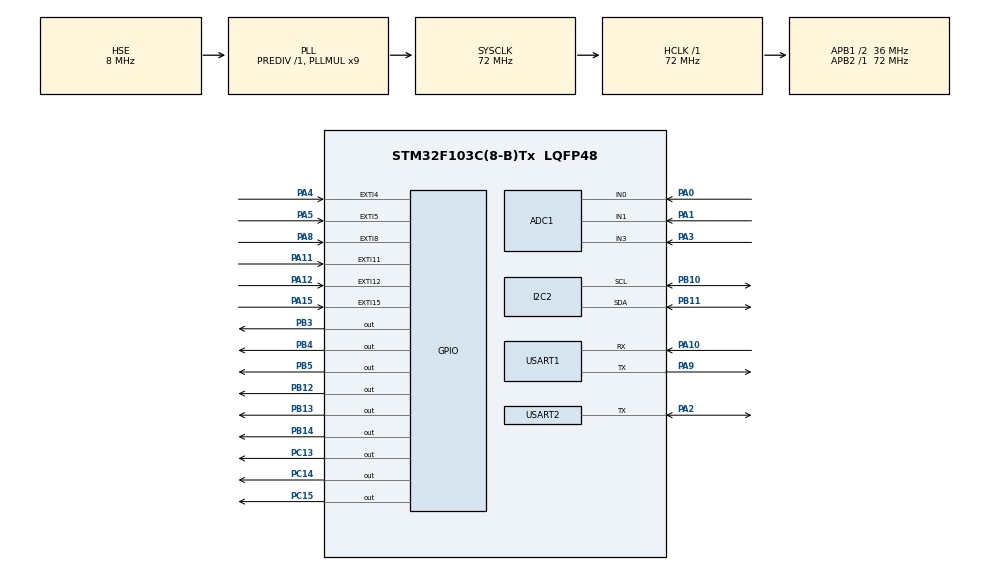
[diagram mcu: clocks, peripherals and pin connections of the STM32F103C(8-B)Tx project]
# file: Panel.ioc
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Mcu.Family=STM32F1
Dma.ADC1.1.MemDataAlignment=DMA_MDATAALIGN_HALFWORD
NVIC.DMA1_Channel5_IRQn=true\:0\:0\:false\:false\:true\:false\:true
PB10.Mode=I2C
ADC1.ContinuousConvMode=DISABLE
USART2.Parity=PARITY_NONE
VP_RTC_VS_RTC_Activate.Mode=RTC_Enabled
Dma.TIM1_UP.0.Mode=DMA_CIRCULAR
PA11.GPIO_PuPd=GPIO_PULLUP
PA12.GPIO_ModeDefaultEXTI=GPIO_MODE_IT_FALLING
PB11.Signal=I2C2_SDA
ADC1.SamplingTime-12\#ChannelRegularConversion=ADC_SAMPLETIME_71CYCLES_5
PB13.Signal=GPIO_Output
RCC.SYSCLKSource=RCC_SYSCLKSOURCE_PLLCLK
ProjectManager.StackSize=0x400
PD1-OSC_OUT.Signal=RCC_OSC_OUT
NVIC.RTC_IRQn=true\:15\:0\:true\:false\:true\:true\:true
VP_RTC_No_RTC_Output.Mode=RTC_OUT_NO
Dma.TIM1_UP.0.MemInc=DMA_MINC_ENABLE
PA12.Signal=GPXTI12
TIM1.Prescaler=7200
Dma.ADC1.1.Instance=DMA1_Channel1
ADC1.Rank-11\#ChannelRegularConversion=1
PA15.GPIO_ModeDefaultEXTI=GPIO_MODE_IT_FALLING
RCC.HCLKFreq_Value=72000000
SH.ADCx_IN3.0=ADC1_IN3,IN3
RCC.APB2TimFreq_Value=72000000
PB13.GPIO_ModeDefaultOutputPP=GPIO_MODE_OUTPUT_PP
ADC1.InjNumberOfConversion=3
Dma.ADC1.1.PeriphDataAlignment=DMA_PDATAALIGN_HALFWORD
PB12.PinState=GPIO_PIN_RESET
RCC.AHBFreq_Value=72000000
NVIC.EXTI15_10_IRQn=true\:7\:0\:true\:false\:true\:true\:true
PA4.GPIO_PuPd=GPIO_PULLUP
PB12.GPIO_ModeDefaultOutputPP=GPIO_MODE_OUTPUT_PP
RCC.PLLMUL=RCC_PLL_MUL9
PB3.GPIO_PuPd=GPIO_PULLUP
RCC.LSE_Timout=2500
PA14.Mode=Serial_Wire
PA5.GPIO_PuPd=GPIO_PULLUP
NVIC.TIM2_IRQn=true\:0\:0\:false\:false\:true\:true\:true
Dma.ADC1.1.Priority=DMA_PRIORITY_LOW
Dma.ADC1.1.Mode=DMA_CIRCULAR
PA8.Signal=GPXTI8
SH.ADCx_IN0.0=ADC1_IN0,IN0
TIM4.Period=50
VP_TIM1_VS_ClockSourceINT.Mode=Internal
Mcu.Package=LQFP48
ADC1.SamplingTime-11\#ChannelRegularConversion=ADC_SAMPLETIME_71CYCLES_5
TIM2.Prescaler=7200
PB14.GPIO_PuPd=GPIO_PULLUP
ADC1.EnableInjectedConversion=DISABLE
Dma.TIM1_UP.0.Direction=DMA_MEMORY_TO_PERIPH
PA8.GPIO_ModeDefaultEXTI=GPIO_MODE_IT_FALLING
USART2.VirtualMode=VM_ASYNC
Dma.ADC1.1.Direction=DMA_PERIPH_TO_MEMORY
ADC1.SamplingTime-13\#ChannelRegularConversion=ADC_SAMPLETIME_71CYCLES_5
ADC1.Channel-11\#ChannelRegularConversion=ADC_CHANNEL_0
Dma.ADC1.1.MemInc=DMA_MINC_ENABLE
PA10.Signal=USART1_RX
PA15.Signal=GPXTI15
SH.ADCx_IN1.0=ADC1_IN1,IN1
Dma.Request1=ADC1
RCC.APB1TimFreq_Value=72000000
TIM1.Period=22
PA12.GPIO_PuPd=GPIO_PULLUP
Dma.Request0=TIM1_UP
PB4.Signal=GPIO_Output
PA3.Signal=ADCx_IN3
RCC.PLLSourceVirtual=RCC_PLLSOURCE_HSE
NVIC.EXTI4_IRQn=true\:0\:0\:false\:false\:true\:true\:true
PA5.GPIO_ModeDefaultEXTI=GPIO_MODE_IT_FALLING
TIM4.AutoReloadPreload=TIM_AUTORELOAD_PRELOAD_ENABLE
PD1-OSC_OUT.Mode=HSE-External-Oscillator
TIM4.CounterMode=TIM_COUNTERMODE_DOWN
PA10.Mode=Asynchronous
ADC1.DiscontinuousConvMode=DISABLE
PC13-TAMPER-RTC.Signal=GPIO_Output
PD0-OSC_IN.Signal=RCC_OSC_IN
ADC1.Channel-13\#ChannelRegularConversion=ADC_CHANNEL_3
RCC.APB1CLKDivider=RCC_HCLK_DIV2
PC14-OSC32_IN.Signal=GPIO_Output
NVIC.USART2_IRQn=true\:10\:0\:true\:false\:true\:true\:true
USART2.BaudRate=9600
PA0-WKUP.Signal=ADCx_IN0
RCC.ADCPresc=RCC_ADCPCLK2_DIV8
PA13.Signal=SYS_JTMS-SWDIO
Dma.TIM1_UP.0.PeriphDataAlignment=DMA_PDATAALIGN_HALFWORD
ADC1.Rank-13\#ChannelRegularConversion=3
PA9.Mode=Asynchronous
PB14.PinState=GPIO_PIN_RESET
PB11.Mode=I2C
ProjectManager.TargetToolchain=STM32CubeIDE
PB14.GPIO_Speed=GPIO_SPEED_FREQ_LOW
PA9.Signal=USART1_TX
PB13.GPIO_Speed=GPIO_SPEED_FREQ_LOW
PA4.GPIO_ModeDefaultEXTI=GPIO_MODE_IT_FALLING
Dma.TIM1_UP.0.Priority=DMA_PRIORITY_LOW
PB4.GPIO_PuPd=GPIO_PULLUP
RCC.USBFreq_Value=72000000
TIM4.Prescaler=7200
PC15-OSC32_OUT.Signal=GPIO_Output
PB14.GPIO_ModeDefaultOutputPP=GPIO_MODE_OUTPUT_PP
PA1.Signal=ADCx_IN1
PB12.GPIO_Speed=GPIO_SPEED_FREQ_LOW
PD0-OSC_IN.Mode=HSE-External-Oscillator
PB10.Signal=I2C2_SCL
PB14.Signal=GPIO_Output
PA5.Signal=GPXTI5
board=custom
ADC1.Rank-12\#ChannelRegularConversion=2
Dma.TIM1_UP.0.Instance=DMA1_Channel5
PB13.GPIO_PuPd=GPIO_PULLUP
ADC1.Channel-12\#ChannelRegularConversion=ADC_CHANNEL_1
RCC.APB2Freq_Value=72000000
USART2.StopBits=STOPBITS_1
PB13.PinState=GPIO_PIN_RESET
VP_TIM2_VS_ClockSourceINT.Mode=Internal
PC15-OSC32_OUT.GPIO_PuPd=GPIO_PULLDOWN
Dma.ADC1.1.PeriphInc=DMA_PINC_DISABLE
TIM2.Period=100
ADC1.NbrOfConversion=3
PA13.Mode=Serial_Wire
Mcu.Name=STM32F103C(8-B)Tx
Dma.TIM1_UP.0.PeriphInc=DMA_PINC_DISABLE
PA2.Signal=USART2_TX
PB3.Signal=GPIO_Output
PA4.Signal=GPXTI4
RCC.SYSCLKFreq_VALUE=72000000
PB5.Signal=GPIO_Output
ADC1.master=1
PB5.GPIO_PuPd=GPIO_PULLUP
USART1.VirtualMode=VM_ASYNC
PA11.Signal=GPXTI11
NVIC.EXTI9_5_IRQn=true\:7\:0\:true\:false\:true\:true\:true
PA14.Signal=SYS_JTCK-SWCLK
ProjectManager.HeapSize=0x200
Dma.TIM1_UP.0.MemDataAlignment=DMA_MDATAALIGN_HALFWORD
PA8.GPIO_PuPd=GPIO_PULLUP
VP_TIM4_VS_ClockSourceINT.Mode=Internal
NVIC.PriorityGroup=NVIC_PRIORITYGROUP_4
ADC1.NbrOfConversionFlag=1
PA15.GPIO_PuPd=GPIO_PULLUP
ADC1.EnableRegularConversion=ENABLE
PA2.Mode=Half_duplex(single_wire_mode)
PB8.Signal=CAN_RX
PC14-OSC32_IN.GPIO_PuPd=GPIO_PULLDOWN
NVIC.DMA1_Channel1_IRQn=true\:0\:0\:false\:false\:true\:false\:true
PB12.GPIO_PuPd=GPIO_PULLUP
NVIC.TIM4_IRQn=true\:2\:0\:true\:false\:true\:true\:true
PA11.GPIO_ModeDefaultEXTI=GPIO_MODE_IT_FALLING
RCC.APB1Freq_Value=36000000
PB12.Signal=GPIO_Output

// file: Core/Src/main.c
/* USER CODE BEGIN Header */
/**
  ******************************************************************************
  * @file           : main.c
  * @brief          : Main program body
  ******************************************************************************
  * @attention
  *
  * <h2><center>&copy; Copyright (c) 2020 STMicroelectronics.
  * All rights reserved.</center></h2>
  *
  * This software component is licensed by ST under BSD 3-Clause license,
  * the "License"; You may not use this file except in compliance with the
  * License. You may obtain a copy of the License at:
  *                        opensource.org/licenses/BSD-3-Clause
  *
  ******************************************************************************
  */
/* USER CODE END Header */
#include "main.h"

/* USER CODE BEGIN PD */
#define Beep_ON  HAL_GPIO_WritePin(GPIOC,GPIO_PIN_14, GPIO_PIN_SET)
#define Beep_OFF HAL_GPIO_WritePin(GPIOC,GPIO_PIN_14, GPIO_PIN_RESET)
#define Power_out_ON  HAL_GPIO_WritePin(GPIOC,GPIO_PIN_15, GPIO_PIN_SET)
#define Power_out_OFF HAL_GPIO_WritePin(GPIOC,GPIO_PIN_15, GPIO_PIN_RESET)

/* USER CODE END PD */

/* USER CODE BEGIN PM */
#define DEBUG				1
/* USER CODE END PM */

ADC_HandleTypeDef hadc1;
DMA_HandleTypeDef hdma_adc1;

I2C_HandleTypeDef hi2c2;

RTC_HandleTypeDef hrtc;

TIM_HandleTypeDef htim1;
TIM_HandleTypeDef htim2;
TIM_HandleTypeDef htim4;
DMA_HandleTypeDef hdma_tim1_up;

UART_HandleTypeDef huart1;
UART_HandleTypeDef huart2;

/* USER CODE BEGIN PV */
volatile uint16_t Sec_count = 0;

volatile uint16_t ADC[3] = {0,}; // у нас два канала поэтому массив из двух элементов

#if (DEBUG)
char Uart_str[64] = {0,};
#endif
/* USER CODE END PV */

void SystemClock_Config(void);
static void MX_GPIO_Init(void);
static void MX_DMA_Init(void);
static void MX_RTC_Init(void);
static void MX_USART2_UART_Init(void);
static void MX_TIM1_Init(void);
static void MX_ADC1_Init(void);
static void MX_I2C2_Init(void);
static void MX_USART1_UART_Init(void);
static void MX_TIM4_Init(void);
static void MX_TIM2_Init(void);
/* USER CODE BEGIN PFP */
void setup(void);
void setModeRXuart2(void);
void sendDataFromPanel(uint8_t);
void running_lights(void);

uint8_t get_selector_position(uint8_t, uint16_t);
void start_wash(uint8_t, uint8_t, uint8_t);
void stop_wash(uint8_t);
void led_off(void);
void led_on(void);
void beep(uint16_t);
void check_errors(uint8_t);
void status_wash_led(uint8_t);
void error_display(void);

#define ControlMasterlID 1      //  номер контрол. master управления в сети
#define ControlPanelID   2      //  номер контрол. панели управления в сети
#define ControlWIFIlID   3      //  номер контрол. WIFI панели управления в сети

#define _get_Num_Prog   get_selector_position(selectorProg,ADC[selectorProg])
#define _get_Speed_Spin get_selector_position(selectorSpeed, ADC[selectorSpeed])
#define _get_Temp_Wash  get_selector_position(selectorTemp,  ADC[selectorTemp])

// длина звука биппера
#define Power_ON 		200
#define Btton_press 	70
#define Wash_end		1650
#define Err_beep		100

#define ON			  	1
#define OFF			  	0

//массив данных для панели управления получаемый по uart2
#define ID            0
#define Start         1
#define ProgNum       2
#define Temp          3
#define Spin          4
#define Status        5
#define END           6
#define Reserve       7
#define WIFIS         8
#define TempC         9
#define TempS        10
#define WatLev       11
#define ProgNow      12
#define DoorS        13
#define ProgTot      14
#define SpeedH       15
#define SpeedL       16
#define PauseH       17
#define PauseL       18
#define CRCdata      19

#define lenArr        20

volatile uint8_t     buf_cmd_mass[lenArr] = {0,};
volatile uint8_t  Command_Massive[lenArr] ={
                                   0, // 0  для кого сообщение                                                                                                             <-->
                                   0, // 1  Старт стирка -1 Стоп стрика - 0                                                                                            В Контроллер
                                   0, // 2  Программа стирки от 0 до 16                                                                                                В Контроллер
                                   0, // 3  Температура стирки от  0 до 95                                                                                             В Контроллер
                                   0, // 4  Обороты отжима от 0 до 100 (нужно будет умножить на 10)                                                                    В Контроллер
                                   0, // 5  Состояние стирки: 0 - Конец. 1 - Предваритель стирка. 2 - Стиирка. 3 - Полоскание. 4 - Отжим. от контрол. мастер          Из Контроллера
                                   0, // 6  END от контроллера мастер . остановка или конец стирки 1 - конец  0 - работаем                                            Из Контроллера
                                   0, // 7  reserve
                                   0, // 8  OFF == 0 WIFI, WIFI ON == 1, Reset password == 2                                                                          Из Контроллера
                                   0, // 9  tempWater температура воды                                                                                                Из Контроллера
                                   0, // 10 tempHeaterSet заданная температура воды                                                                                   Из Контроллера
                                   0, // 11 waterLevel() уровень воды 0 1 2                                                                                           Из Контроллера
                                   0, // 12 NumProg  номер исполняемой программы стирки                                                                               Из Контроллера
                                   0, // 14 getStatusDoor()  состояние люка                                                                                           Из Контроллера
                                   0, // 15 TotalProgSD  кол-во программ стирки на SD карте в каталоге STEP/                                                          Из Контроллера
                                   0, // 16 getValueArr(CurrentSpeedCell) >> 8;  int Сохраняем старший байт значения оборотов в  1 ячейку массив                      Из Контроллера
                                   0, // 17 getValueArr(CurrentSpeedCell);  Сохраняем младший байт значения оборотов во 2 ячейку массив                               Из Контроллера
                                   0, // 18 CountSecPause >> 8;   int Сохраняем старший байт значения паузы в  1 ячейку массив                                        Из Контроллера
                                   0, // 19 CountSecPause ;    Сохраняем младший байт значения паузы во 2 ячейку массив                                               Из Контроллера
                                   0  // 20 CRC                                                                                                                       <-->
                             };

#define selectorProg     	0
#define selectorSpeed    	1
#define selectorTemp     	2

#define totall_Prog 16
const uint16_t selectorProg_values [totall_Prog] =
                                        {150,350,600,900,1200,1500,1710,2000,2320,2666,2850,3099,3469,3747,4000,4500}; 	// положение регулятора считывание с аналог. входа
                                      //  {1,  2,  3,  4,   5,   6,   7,   8,   9,  10,  11,  12,  13,  14,  15,  16}  	//  программы стирки
#define tempSpeedNum 8
const uint16_t selectorTempSpeed_values[3] [8] = {
                                                {400,1000,2000,2500,2900,3300,3800,4500}, 	// положение регулятора считывание с аналог. входа
                                                { 70, 80,  90,  100,   0,  40,  50,  60}, 	// обороты отжима
                                                {  0, 30,  40,   50,  60,  70,  80,  90}  	// температура стирки
                                                };

#define led_0 0x4018
#define led_1 0x2018
#define led_2 0x1018
#define led_3 0x4028
#define led_4 0x2028
#define led_5 0x1028
#define led_6 0x4030
#define led_7 0x2030
#define led_8 0x1030

#define led_power 8

/*										0		1		2		3		4		5		6		7		8	*/
const uint16_t Led_array_ON[10] = {0x4018, 0x2018, 0x1018, 0x4028, 0x2028, 0x1028, 0x4030, 0x2030, 0x1030, 0x0000 };
/*							0		1		2		3		4		5		6		7		8	*/
uint16_t Led_array[10] = {0x0000, 0x0000, 0x0000, 0x0000, 0x0000, 0x0000, 0x0000, 0x0000, 0x0000, 0x0000 };//{GPIO_PIN_12, GPIO_PIN_13, GPIO_PIN_14};

volatile uint16_t Pin_button;
volatile uint8_t Flag_power_ON;
volatile uint8_t Flag_radio_ON;
volatile uint8_t Flag_start_wash;
uint8_t Flag_wash;
uint8_t Step_wash_session;

#define limit_Sec_ses_conn  50
volatile uint16_t Sec_count_sesion_connect;
volatile uint16_t Sec_delay_start_wash;
volatile uint8_t Count_mode_delay_wash; // 0 - off  0 < on
//									0h  2h 		4h 		6h 	  9h
const uint16_t Time_Delay_Arr[5] = {0, 05, 14400, 21600, 36000}; //0h 2h 4h 6h 9h
#define Tot_arr_err  16
uint8_t Error_Arr[Tot_arr_err] = {0,};																	// массив с ошибками полученный от главного контроллера

/* USER CODE END PFP */

int main(void)
{

  /* MCU Configuration--------------------------------------------------------*/

  /* Reset of all peripherals, Initializes the Flash interface and the Systick. */
  HAL_Init();

  /* Configure the system clock */
  SystemClock_Config();

  /* Initialize all configured peripherals */
  MX_GPIO_Init();
  MX_DMA_Init();
  MX_RTC_Init();
  MX_USART2_UART_Init();
  MX_TIM1_Init();
  MX_ADC1_Init();
  MX_I2C2_Init();
  MX_USART1_UART_Init();
  MX_TIM4_Init();
  MX_TIM2_Init();
  /* USER CODE BEGIN 2 */
  HAL_UART_Transmit(&huart1, "\nI'm panel.\n\0", 12, 1000);
  setup();

  /* USER CODE END 2 */

  /* Infinite loop */
  /* USER CODE BEGIN WHILE */
 // Beep_ON;
 // check_errors(200);check_errors(201); check_errors(202); check_errors(203);

  while (1)
  {

	         HAL_Delay(500);
/*	         Led_array[0] = led_0;
	         Led_array[1] = led_1;
	         Led_array[2] = led_2;
	         Led_array[7] = led_7;
	         Led_array[3] = led_3;
	         Led_array[4] = led_4;
	         Led_array[5] = led_5;
	         Led_array[6] = led_6;
	         Led_array[7] = led_7;
	         Led_array[8] = led_8;
 */
	                 //snprintf(Uart_str, 63, "ADC %d    %d    %d\n", (uint16_t)adc[0], (uint16_t)ADC[1], (uint16_t)adc[2]);
	                 //HAL_UART_Transmit(&huart1, (uint8_t*)Uart_str, strlen(Uart_str), 1000);

	                		 	 	 	 	 	 	 	 	 	 	 //get_selector_position(selectorSpeed, ADC[selectorSpeed]);
	         snprintf(Uart_str, 63, "Prog %d (%d) Speed  %d (%d) Temper  %d (%d)\r\n\0", get_selector_position(selectorProg,  ADC[selectorProg]),  ADC[selectorProg],
	         	                		 	 	 	 	 	 	 	 	 	 	      get_selector_position(selectorSpeed, ADC[selectorSpeed]), ADC[selectorSpeed],
	         																	      get_selector_position(selectorTemp,  ADC[selectorTemp]),  ADC[selectorTemp]);
	         //HAL_UART_Transmit(&huart1, (uint8_t*)Uart_str, strlen(Uart_str), 1000);

	         //snprintf(Uart_str, 63, "Radio %d Mashine %d Start %d Prog %d  Speed  %d  Temper  %d \n", Flag_radio_ON, Flag_power_ON, Command_Massive[Start], Command_Massive[ProgNum], Command_Massive[Spin], Command_Massive[Temp]);

	         //snprintf(Uart_str, 63, "Delay %d Flag_start_wash %d Status %d step %d\r\n\0",  Sec_delay_start_wash, Flag_start_wash, buf_cmd_mass[Status], Step_wash_session);
	         snprintf(Uart_str, 63, "cmdA[Start]: %d buf[Start]: %d Sess: %d buf[END]: %d\r\n\0",  Command_Massive[Start], buf_cmd_mass[Start], Sec_count_sesion_connect, buf_cmd_mass[END]);
	         HAL_UART_Transmit(&huart1, (uint8_t*)Uart_str, strlen(Uart_str), 1000);

	                if (!Flag_power_ON && !Flag_radio_ON)  // если питание выкл и радио выкл гасим индикаторы отключаем стирку
	                {
	                	stop_wash(0);
	                	Flag_start_wash = Flag_wash = Step_wash_session = buf_cmd_mass[Status] = buf_cmd_mass[Start] = 0; status_wash_led(0);
	                	led_off();
	                	HAL_Delay(500);
	                	Power_out_OFF;
	                	Sec_count_sesion_connect = 0;
	                }
/*-------------------------------------------------------------------------------------------------------------------------------------------------------------------*/
	                if (!Flag_power_ON && Flag_radio_ON)   // включено радио
	                {
	                	Power_out_OFF;
	                }
/*-------------------------------------------------------------------------------------------------------------------------------------------------------------------/
	                if (Flag_power_ON) 						// режим стирка
	                {
	                   if (Flag_Wash == ON) {start_wash(_get_Num_Prog, _get_Speed_Spin, _get_Temp_Wash); Flag_Wash = OFF;} 								// если включено питание  запуск стирки
	                   if (Flag_Wash == OFF && Flag_start_wash == OFF) stop_wash(OFF);						// остановка стирки
	                   if ((Sec_delay_start_wash == 0 && Flag_start_wash == ON) ) {
	                	   	   	   	   	   	   	   	   	   	   	   	   	   	   	   status_wash_led(OFF);	// гасим индикаторы статуса стирки - отсрочки
	                	   	   	   	   	   	   	   	   	   	   	   	   	   	   	   Led_array[3] = OFF;      // индикатор кнопки таймера отсрочки стирки
	                	   	   	   	   	   	   	   	   	   	   	   	   	   	   	   Flag_Wash = ON;}         // запуск стирки по таймеру отсрочки
	                   if (Flag_start_wash == ON) status_wash_led(buf_cmd_mass[Status]); 					// выдаем статус на панель если режим ON

	                }
/*-------------------------------------------------------------------------------------------------------------------------------------------------------------------*/
	                if (Flag_power_ON) 						// режим стирка
	                {
	                   Power_out_ON;						// ВКЛ питание на контрол. машины
	                   if(Sec_count_sesion_connect == 10)setModeRXuart2();
	                   uint16_t sum_err = 0;
	                   for(uint8_t i = 0; i < Tot_arr_err; i++) sum_err += Error_Arr[i];
	                   if (sum_err > 1 && Flag_start_wash == OFF) error_display(); // если есть ощибки в памяти то выводим их на панель

	                   if (Sec_delay_start_wash == 0 && Flag_start_wash == ON && Flag_wash == 0 && Step_wash_session < 4)
	                   	   	   	   	   	   	   	   	   	   	   	   	   	   	   	  {
	                	   	   	   	   	   	   	   	   	   	   	   	   	   	   	   status_wash_led(OFF);	// гасим индикаторы статуса стирки - отсрочки
	                	   	   	   	   	   	   	   	   	   	   	   	   	   	   	   Led_array[3] = OFF;      // индикатор кнопки таймера отсрочки стирки
	                	   	   	   	   	   	   	   	   	   	   	   	   	   	   	   Flag_wash = 1;
	                	   	   	   	   	   	   	   	   	   	   	   	   	   	   	   	   	   	   	   	   	   	// супер стирка доп. прог                             здесь номер программы
	                	   	   	   	   	   	   	   	   	   	   	   	   	   	   		 if ( Led_array[6] && Step_wash_session == 0) {Step_wash_session = 1; start_wash(_get_Num_Prog, _get_Speed_Spin, _get_Temp_Wash); goto Exit;}
	                	   	   	   	   	   	   	   	   	   	   	   	   	   	   		 if (!Led_array[6] && Step_wash_session == 0)  Step_wash_session = 1;
	                	   	   	   	   	   	   	   	   	   	   	   	   	   	   		 	 	 	 	 	   // быстрая стирка доп. прог                            здесь номер программы
	                	   	   	   	   	   	   	   	   	   	   	   	   	   	   		 if ( Led_array[5] && Step_wash_session == 1) {Step_wash_session = 2; start_wash(_get_Num_Prog, _get_Speed_Spin, _get_Temp_Wash); goto Exit;}
	                	   	   	   	   	   	   	   	   	   	   	   	   	   	   		 if (!Led_array[5] && Step_wash_session == 1)  Step_wash_session = 2;
	                	   	   	   	   	   	   	   	   	   	   	   	   	   	   		 	 	 	 	 	 	 // обязательная стирка выбранная на селекторе
	                	   	   	   	   	   	   	   	   	   	   	   	   	   	   		 if (Step_wash_session == 2) {Step_wash_session = 3; start_wash(_get_Num_Prog, _get_Speed_Spin, _get_Temp_Wash);
	                	   	   	   	   	   	   	   	   	   	   	   	   	   	   		 	 	 	 	 if (!Led_array[4]) Step_wash_session = 4;
	                	   	   	   	   	   	   	   	   	   	   	   	   	   	   		 	 	 	 	 goto Exit;}
	                	   	   	   	   	   	   	   	   	   	   	   	   	   	   		 	 	 	 	 	 	 // дополнит полоскание доп. прог                   здесь номер программы
	                	   	   	   	   	   	   	   	   	   	   	   	   	   	   		 if ( Led_array[4] && Step_wash_session == 3) {Step_wash_session = 4; start_wash(_get_Num_Prog, _get_Speed_Spin, _get_Temp_Wash);}
	                	   	   	   	   	   	   	   	   	   	   	   	   	   	   		 if (!Led_array[4] && Step_wash_session == 3)  Step_wash_session = 4;

	                   	   	   	   	   	   	   	   	   	   	   	   	   	   	   	   }
	                   Exit:
	                   if (Flag_start_wash == ON) {status_wash_led(0); status_wash_led(buf_cmd_mass[Status]);} 					// выдаем статус на панель если режим ON
	                   if (Flag_wash == ON && Flag_start_wash == OFF) {Step_wash_session = 0; stop_wash(OFF);	}					// остановка стирки по кнопке

	                }

    /* USER CODE END WHILE */

  }
}

void SystemClock_Config(void)
{
  RCC_OscInitTypeDef RCC_OscInitStruct = {0};
  RCC_ClkInitTypeDef RCC_ClkInitStruct = {0};
  RCC_PeriphCLKInitTypeDef PeriphClkInit = {0};

  /** Initializes the RCC Oscillators according to the specified parameters
  * in the RCC_OscInitTypeDef structure.
  */
  RCC_OscInitStruct.OscillatorType = RCC_OSCILLATORTYPE_LSI|RCC_OSCILLATORTYPE_HSE;
  RCC_OscInitStruct.HSEState = RCC_HSE_ON;
  RCC_OscInitStruct.HSEPredivValue = RCC_HSE_PREDIV_DIV1;
  RCC_OscInitStruct.HSIState = RCC_HSI_ON;
  RCC_OscInitStruct.LSIState = RCC_LSI_ON;
  RCC_OscInitStruct.PLL.PLLState = RCC_PLL_ON;
  RCC_OscInitStruct.PLL.PLLSource = RCC_PLLSOURCE_HSE;
  RCC_OscInitStruct.PLL.PLLMUL = RCC_PLL_MUL9;
  if (HAL_RCC_OscConfig(&RCC_OscInitStruct) != HAL_OK)
  {
    Error_Handler();
  }
  /** Initializes the CPU, AHB and APB buses clocks
  */
  RCC_ClkInitStruct.ClockType = RCC_CLOCKTYPE_HCLK|RCC_CLOCKTYPE_SYSCLK
                              |RCC_CLOCKTYPE_PCLK1|RCC_CLOCKTYPE_PCLK2;
  RCC_ClkInitStruct.SYSCLKSource = RCC_SYSCLKSOURCE_PLLCLK;
  RCC_ClkInitStruct.AHBCLKDivider = RCC_SYSCLK_DIV1;
  RCC_ClkInitStruct.APB1CLKDivider = RCC_HCLK_DIV2;
  RCC_ClkInitStruct.APB2CLKDivider = RCC_HCLK_DIV1;

  if (HAL_RCC_ClockConfig(&RCC_ClkInitStruct, FLASH_LATENCY_2) != HAL_OK)
  {
    Error_Handler();
  }
  PeriphClkInit.PeriphClockSelection = RCC_PERIPHCLK_RTC|RCC_PERIPHCLK_ADC;
  PeriphClkInit.RTCClockSelection = RCC_RTCCLKSOURCE_LSI;
  PeriphClkInit.AdcClockSelection = RCC_ADCPCLK2_DIV8;
  if (HAL_RCCEx_PeriphCLKConfig(&PeriphClkInit) != HAL_OK)
  {
    Error_Handler();
  }
}

static void MX_ADC1_Init(void)
{

  ADC_ChannelConfTypeDef sConfig = {0};

  /** Common config
  */
  hadc1.Instance = ADC1;
  hadc1.Init.ScanConvMode = ADC_SCAN_ENABLE;
  hadc1.Init.ContinuousConvMode = DISABLE;
  hadc1.Init.DiscontinuousConvMode = DISABLE;
  hadc1.Init.ExternalTrigConv = ADC_SOFTWARE_START;
  hadc1.Init.DataAlign = ADC_DATAALIGN_RIGHT;
  hadc1.Init.NbrOfConversion = 3;
  if (HAL_ADC_Init(&hadc1) != HAL_OK)
  {
    Error_Handler();
  }
  /** Configure Regular Channel
  */
  sConfig.Channel = ADC_CHANNEL_0;
  sConfig.Rank = ADC_REGULAR_RANK_1;
  sConfig.SamplingTime = ADC_SAMPLETIME_71CYCLES_5;
  if (HAL_ADC_ConfigChannel(&hadc1, &sConfig) != HAL_OK)
  {
    Error_Handler();
  }
  /** Configure Regular Channel
  */
  sConfig.Channel = ADC_CHANNEL_1;
  sConfig.Rank = ADC_REGULAR_RANK_2;
  if (HAL_ADC_ConfigChannel(&hadc1, &sConfig) != HAL_OK)
  {
    Error_Handler();
  }
  /** Configure Regular Channel
  */
  sConfig.Channel = ADC_CHANNEL_3;
  sConfig.Rank = ADC_REGULAR_RANK_3;
  if (HAL_ADC_ConfigChannel(&hadc1, &sConfig) != HAL_OK)
  {
    Error_Handler();
  }

}

static void MX_I2C2_Init(void)
{

  hi2c2.Instance = I2C2;
  hi2c2.Init.ClockSpeed = 100000;
  hi2c2.Init.DutyCycle = I2C_DUTYCYCLE_2;
  hi2c2.Init.OwnAddress1 = 0;
  hi2c2.Init.AddressingMode = I2C_ADDRESSINGMODE_7BIT;
  hi2c2.Init.DualAddressMode = I2C_DUALADDRESS_DISABLE;
  hi2c2.Init.OwnAddress2 = 0;
  hi2c2.Init.GeneralCallMode = I2C_GENERALCALL_DISABLE;
  hi2c2.Init.NoStretchMode = I2C_NOSTRETCH_DISABLE;
  if (HAL_I2C_Init(&hi2c2) != HAL_OK)
  {
    Error_Handler();
  }

}

static void MX_RTC_Init(void)
{

  RTC_TimeTypeDef sTime = {0};
  RTC_DateTypeDef DateToUpdate = {0};

  /** Initialize RTC Only
  */
  hrtc.Instance = RTC;
  hrtc.Init.AsynchPrediv = RTC_AUTO_1_SECOND;
  hrtc.Init.OutPut = RTC_OUTPUTSOURCE_NONE;
  if (HAL_RTC_Init(&hrtc) != HAL_OK)
  {
    Error_Handler();
  }

  /** Initialize RTC and set the Time and Date
  */
  sTime.Hours = 0x0;
  sTime.Minutes = 0x0;
  sTime.Seconds = 0x0;

  if (HAL_RTC_SetTime(&hrtc, &sTime, RTC_FORMAT_BCD) != HAL_OK)
  {
    Error_Handler();
  }
  DateToUpdate.WeekDay = RTC_WEEKDAY_MONDAY;
  DateToUpdate.Month = RTC_MONTH_JANUARY;
  DateToUpdate.Date = 0x1;
  DateToUpdate.Year = 0x0;

  if (HAL_RTC_SetDate(&hrtc, &DateToUpdate, RTC_FORMAT_BCD) != HAL_OK)
  {
    Error_Handler();
  }

}

static void MX_TIM1_Init(void)
{

  TIM_ClockConfigTypeDef sClockSourceConfig = {0};
  TIM_MasterConfigTypeDef sMasterConfig = {0};

  htim1.Instance = TIM1;
  htim1.Init.Prescaler = 7200;
  htim1.Init.CounterMode = TIM_COUNTERMODE_UP;
  htim1.Init.Period = 22;
  htim1.Init.ClockDivision = TIM_CLOCKDIVISION_DIV1;
  htim1.Init.RepetitionCounter = 0;
  htim1.Init.AutoReloadPreload = TIM_AUTORELOAD_PRELOAD_DISABLE;
  if (HAL_TIM_Base_Init(&htim1) != HAL_OK)
  {
    Error_Handler();
  }
  sClockSourceConfig.ClockSource = TIM_CLOCKSOURCE_INTERNAL;
  if (HAL_TIM_ConfigClockSource(&htim1, &sClockSourceConfig) != HAL_OK)
  {
    Error_Handler();
  }
  sMasterConfig.MasterOutputTrigger = TIM_TRGO_RESET;
  sMasterConfig.MasterSlaveMode = TIM_MASTERSLAVEMODE_DISABLE;
  if (HAL_TIMEx_MasterConfigSynchronization(&htim1, &sMasterConfig) != HAL_OK)
  {
    Error_Handler();
  }

}

static void MX_TIM2_Init(void)
{

  TIM_ClockConfigTypeDef sClockSourceConfig = {0};
  TIM_MasterConfigTypeDef sMasterConfig = {0};

  htim2.Instance = TIM2;
  htim2.Init.Prescaler = 7200;
  htim2.Init.CounterMode = TIM_COUNTERMODE_UP;
  htim2.Init.Period = 100;
  htim2.Init.ClockDivision = TIM_CLOCKDIVISION_DIV1;
  htim2.Init.AutoReloadPreload = TIM_AUTORELOAD_PRELOAD_DISABLE;
  if (HAL_TIM_Base_Init(&htim2) != HAL_OK)
  {
    Error_Handler();
  }
  sClockSourceConfig.ClockSource = TIM_CLOCKSOURCE_INTERNAL;
  if (HAL_TIM_ConfigClockSource(&htim2, &sClockSourceConfig) != HAL_OK)
  {
    Error_Handler();
  }
  sMasterConfig.MasterOutputTrigger = TIM_TRGO_RESET;
  sMasterConfig.MasterSlaveMode = TIM_MASTERSLAVEMODE_DISABLE;
  if (HAL_TIMEx_MasterConfigSynchronization(&htim2, &sMasterConfig) != HAL_OK)
  {
    Error_Handler();
  }

}

static void MX_TIM4_Init(void)
{

  TIM_ClockConfigTypeDef sClockSourceConfig = {0};
  TIM_MasterConfigTypeDef sMasterConfig = {0};

  htim4.Instance = TIM4;
  htim4.Init.Prescaler = 7200;
  htim4.Init.CounterMode = TIM_COUNTERMODE_DOWN;
  htim4.Init.Period = 50;
  htim4.Init.ClockDivision = TIM_CLOCKDIVISION_DIV1;
  htim4.Init.AutoReloadPreload = TIM_AUTORELOAD_PRELOAD_ENABLE;
  if (HAL_TIM_Base_Init(&htim4) != HAL_OK)
  {
    Error_Handler();
  }
  sClockSourceConfig.ClockSource = TIM_CLOCKSOURCE_INTERNAL;
  if (HAL_TIM_ConfigClockSource(&htim4, &sClockSourceConfig) != HAL_OK)
  {
    Error_Handler();
  }
  sMasterConfig.MasterOutputTrigger = TIM_TRGO_RESET;
  sMasterConfig.MasterSlaveMode = TIM_MASTERSLAVEMODE_DISABLE;
  if (HAL_TIMEx_MasterConfigSynchronization(&htim4, &sMasterConfig) != HAL_OK)
  {
    Error_Handler();
  }

}

static void MX_USART1_UART_Init(void)
{

  huart1.Instance = USART1;
  huart1.Init.BaudRate = 115200;
  huart1.Init.WordLength = UART_WORDLENGTH_8B;
  huart1.Init.StopBits = UART_STOPBITS_1;
  huart1.Init.Parity = UART_PARITY_NONE;
  huart1.Init.Mode = UART_MODE_TX_RX;
  huart1.Init.HwFlowCtl = UART_HWCONTROL_NONE;
  huart1.Init.OverSampling = UART_OVERSAMPLING_16;
  if (HAL_UART_Init(&huart1) != HAL_OK)
  {
    Error_Handler();
  }

}

static void MX_USART2_UART_Init(void)
{

  huart2.Instance = USART2;
  huart2.Init.BaudRate = 9600;
  huart2.Init.WordLength = UART_WORDLENGTH_8B;
  huart2.Init.StopBits = UART_STOPBITS_1;
  huart2.Init.Parity = UART_PARITY_NONE;
  huart2.Init.Mode = UART_MODE_TX_RX;
  huart2.Init.HwFlowCtl = UART_HWCONTROL_NONE;
  huart2.Init.OverSampling = UART_OVERSAMPLING_16;
  if (HAL_HalfDuplex_Init(&huart2) != HAL_OK)
  {
    Error_Handler();
  }

}

static void MX_DMA_Init(void)
{

  /* DMA controller clock enable */
  __HAL_RCC_DMA1_CLK_ENABLE();

  /* DMA interrupt init */
  /* DMA1_Channel1_IRQn interrupt configuration */
  HAL_NVIC_SetPriority(DMA1_Channel1_IRQn, 0, 0);
  HAL_NVIC_EnableIRQ(DMA1_Channel1_IRQn);
  /* DMA1_Channel5_IRQn interrupt configuration */
  HAL_NVIC_SetPriority(DMA1_Channel5_IRQn, 0, 0);
  HAL_NVIC_EnableIRQ(DMA1_Channel5_IRQn);

}

static void MX_GPIO_Init(void)
{
  GPIO_InitTypeDef GPIO_InitStruct = {0};

  /* GPIO Ports Clock Enable */
  __HAL_RCC_GPIOC_CLK_ENABLE();
  __HAL_RCC_GPIOD_CLK_ENABLE();
  __HAL_RCC_GPIOA_CLK_ENABLE();
  __HAL_RCC_GPIOB_CLK_ENABLE();

  /*Configure GPIO pin Output Level */
  HAL_GPIO_WritePin(GPIOC, GPIO_PIN_13|GPIO_PIN_14|GPIO_PIN_15, GPIO_PIN_RESET);

  /*Configure GPIO pin Output Level */
  HAL_GPIO_WritePin(GPIOB, GPIO_PIN_12|GPIO_PIN_13|GPIO_PIN_14|GPIO_PIN_3
                          |GPIO_PIN_4|GPIO_PIN_5, GPIO_PIN_RESET);

  /*Configure GPIO pin : PC13 */
  GPIO_InitStruct.Pin = GPIO_PIN_13;
  GPIO_InitStruct.Mode = GPIO_MODE_OUTPUT_PP;
  GPIO_InitStruct.Pull = GPIO_NOPULL;
  GPIO_InitStruct.Speed = GPIO_SPEED_FREQ_LOW;
  HAL_GPIO_Init(GPIOC, &GPIO_InitStruct);

  /*Configure GPIO pins : PC14 PC15 */
  GPIO_InitStruct.Pin = GPIO_PIN_14|GPIO_PIN_15;
  GPIO_InitStruct.Mode = GPIO_MODE_OUTPUT_PP;
  GPIO_InitStruct.Pull = GPIO_PULLDOWN;
  GPIO_InitStruct.Speed = GPIO_SPEED_FREQ_LOW;
  HAL_GPIO_Init(GPIOC, &GPIO_InitStruct);

  /*Configure GPIO pins : PA4 PA5 PA8 PA11
                           PA12 PA15 */
  GPIO_InitStruct.Pin = GPIO_PIN_4|GPIO_PIN_5|GPIO_PIN_8|GPIO_PIN_11
                          |GPIO_PIN_12|GPIO_PIN_15;
  GPIO_InitStruct.Mode = GPIO_MODE_IT_FALLING;
  GPIO_InitStruct.Pull = GPIO_PULLUP;
  HAL_GPIO_Init(GPIOA, &GPIO_InitStruct);

  /*Configure GPIO pins : PB12 PB13 PB14 PB3
                           PB4 PB5 */
  GPIO_InitStruct.Pin = GPIO_PIN_12|GPIO_PIN_13|GPIO_PIN_14|GPIO_PIN_3
                          |GPIO_PIN_4|GPIO_PIN_5;
  GPIO_InitStruct.Mode = GPIO_MODE_OUTPUT_PP;
  GPIO_InitStruct.Pull = GPIO_PULLUP;
  GPIO_InitStruct.Speed = GPIO_SPEED_FREQ_LOW;
  HAL_GPIO_Init(GPIOB, &GPIO_InitStruct);

  /*Configure GPIO pin : PB8 */
  GPIO_InitStruct.Pin = GPIO_PIN_8;
  GPIO_InitStruct.Mode = GPIO_MODE_INPUT;
  GPIO_InitStruct.Pull = GPIO_NOPULL;
  HAL_GPIO_Init(GPIOB, &GPIO_InitStruct);

  /*Configure peripheral I/O remapping */
  __HAL_AFIO_REMAP_CAN1_2();

  /* EXTI interrupt init*/
  HAL_NVIC_SetPriority(EXTI4_IRQn, 0, 0);
  HAL_NVIC_EnableIRQ(EXTI4_IRQn);

  HAL_NVIC_SetPriority(EXTI9_5_IRQn, 7, 0);
  HAL_NVIC_EnableIRQ(EXTI9_5_IRQn);

  HAL_NVIC_SetPriority(EXTI15_10_IRQn, 7, 0);
  HAL_NVIC_EnableIRQ(EXTI15_10_IRQn);

}

/* USER CODE BEGIN 4 */
/*+++++++++++++++++++++++++++++++++++++++++++++++++++++++++*/
/*+++++++++++++++++++++++++++++++++++++++++++++++++++++++++*/
void HAL_RTCEx_RTCEventCallback (RTC_HandleTypeDef *hrtc)				// прерывание 1 раз в секунду
{
 if(RTC_IT_SEC)
 {
	 Sec_count++;
	 HAL_GPIO_TogglePin(GPIOC, GPIO_PIN_13);

	 if(Sec_count %2 == 0 && Flag_power_ON && !Flag_start_wash) 											// если только вкл питания
	 	 	 	 	 	 	 	 	 	 	 	 	 	 	 {
		 	 	 	 	 	 	 	 	 	 	 	 	 	  HAL_ADC_Start_DMA(&hadc1, (uint32_t*)&ADC, 3); // стартуем АЦП  для преобразования
	 	 	 	 	 	 	 	 	 	 	 	 	 	 	  return;
	 	 	 	 	 	 	 	 	 	 	 	 	 	 	 }
	 if(Sec_delay_start_wash != 0 && Flag_start_wash == ON) Sec_delay_start_wash--;								// если таймер включен и флаг старта стирки уменьшаем его на 1
	 HAL_ADC_Stop_DMA(&hadc1); 																				// стоп АЦП
	 if(!Flag_power_ON)  Led_array[led_power] = 0; else Sec_count_sesion_connect++;									// если флаг выкл питание гасим индикатор, а если ВКЛ счет сек между сенсами связи
	 if(Flag_power_ON && Flag_start_wash) Led_array[led_power] = led_8;												// если есть питание и старт стирки включаем индикатор
	 check_errors(0);																						// если от мастера пришли ошибки узлов то их обрабатываем \ выводим
	 //status_wash_led(buf_cmd_mass[Status]);
 }
}
/*+++++++++++++++++++++++++++++++++++++++++++++++++++++++++*/
void setup(void)
{
	  Power_out_OFF;
	  setModeRXuart2();													// настройка послед порта 2 на прием

	  HAL_ADCEx_Calibration_Start(&hadc1);  							// калибровкa АЦП
	  //HAL_ADC_Start_DMA(&hadc1, (uint32_t*)&adc, 3); 					// стартуем АЦП
	  //HAL_ADC_Stop_DMA(&hadc1); 										// стоп АЦП
	  HAL_RTCEx_SetSecond_IT(&hrtc);									// старт RTC прерывание 1 сек
	  HAL_DMA_Start_IT(htim1.hdma[TIM_DMA_ID_UPDATE], (uint32_t)Led_array, (uint32_t)&GPIOB->ODR, 9);  // запуск таймера 1 и ДМА для вывода   LED индикации
	  __HAL_TIM_ENABLE_DMA(&htim1, TIM_DMA_UPDATE);
	  __HAL_TIM_ENABLE(&htim1);

	  HAL_TIM_Base_Stop_IT(&htim4); 									// останавливаем таймер
	  HAL_TIM_Base_Start_IT(&htim2);
	  Flag_power_ON 	= 0;											// флаг панели управления Вкл Выкл ее
	  Flag_radio_ON 	= 0;											// флаг рвдио вкл выкл
	  Flag_start_wash 	= 0;											// флаг старта стирки от сост кнопки
	  Flag_wash 		= 0;    //<<<<<<<<<<<<
	  Step_wash_session = 0;
	  Sec_count_sesion_connect = 0;										// счетчик паузы между сенсами связи с мастером
	  Sec_delay_start_wash     = 0;										// таймер отсрочки старта стирки
	  Count_mode_delay_wash    = 0;
	  led_on();															// тест индикаторов
	  beep(Power_ON);													// бип при включении контроллера
	  HAL_Delay(500);													// задержка что бы увидеть индикаторы
	  led_off();														// гасим индикаторы
}
/*+++++++++++++++++++++++++++++++++++++++++++++++++++++++++*/
void HAL_UART_TxCpltCallback(UART_HandleTypeDef *huart) 				// По окончании отправки  в huart2 сработает прерывание и вызовет колбек
{
          if(huart == &huart2)
          { 															// можно установить какой-то флаг, сообщающий об окончании отправки
        	  setModeRXuart2();                                         // переходим в режим чтения порта
          }
}
void HAL_UART_RxCpltCallback(UART_HandleTypeDef *huart)					// По окончании приема  в huart2 сработает прерывание и вызовет колбек
{
          if(huart == &huart2)
		  {																// что-то делаем -- возможно тут проверка CRC если не понадобится то избавимся от буф. массива
        	  uint8_t crc_l =0;
        	  for(uint8_t i =0; i<20-1; i++) crc_l ^= buf_cmd_mass[i];
        	  if (buf_cmd_mass[ID] == ControlPanelID && (20^crc_l+2 == buf_cmd_mass[CRCdata]))// если от мастера пришло сообщение и CRC совпадает
        	  {
        		  if (buf_cmd_mass[END] == 1) stop_wash(0);				// если 1 то пришел флаг конца стирки от мастера, значит переходим в режим конца стирки
        		  Sec_count_sesion_connect = 0;							// сброс счетчика контроля связи между платой панели и мастером
        		  check_errors(buf_cmd_mass[Status]);					// если от мастера пришли ошибки узлов то их обрабатываем \ выводим
        		  //status_wash_led(buf_cmd_mass[Status]);
        		  sendDataFromPanel(ControlMasterlID);					// отвечаем мастеру
        	  }
          }
}

void HAL_UART_ErrorCallback(UART_HandleTypeDef *huart)    				// колбек ошибки при приёме/отправке
{
#if(DEBUG)
	if(huart == &huart2)
        {																//  ошибки
        	uint32_t er = HAL_UART_GetError(&huart2);
            switch(er)
                {
                 case HAL_UART_ERROR_PE:
                 HAL_UART_Transmit(&huart1, (uint8_t*)"ERR_Uart - Parity error\n", 27, 1000);
                 __HAL_UART_CLEAR_PEFLAG(huart);
                 huart->ErrorCode = HAL_UART_ERROR_NONE;
                 break;
                 case HAL_UART_ERROR_NE:
                 HAL_UART_Transmit(&huart1, (uint8_t*)"ERR_Uart - Noise error\n", 26, 1000);
                 __HAL_UART_CLEAR_NEFLAG(huart);
                 huart->ErrorCode = HAL_UART_ERROR_NONE;
                 break;
                 case HAL_UART_ERROR_FE:
                 HAL_UART_Transmit(&huart1, (uint8_t*)"ERR_Uart - Frame error\n", 26, 1000);
                 __HAL_UART_CLEAR_FEFLAG(huart);
                 huart->ErrorCode = HAL_UART_ERROR_NONE;
                 break;
                 case HAL_UART_ERROR_ORE:
                 HAL_UART_Transmit(&huart1, (uint8_t*)"ERR_Uart - Overrun error\n", 28, 1000);
                 __HAL_UART_CLEAR_OREFLAG(huart);
                 huart->ErrorCode = HAL_UART_ERROR_NONE;
                 break;
                 case HAL_UART_ERROR_DMA:
                 HAL_UART_Transmit(&huart1, (uint8_t*)"ERR_Uart - DMA transfer error\n", 33, 1000);
                 huart->ErrorCode = HAL_UART_ERROR_NONE;
                 break;
                 default:
                 break;
                }
#endif
                __HAL_UART_FLUSH_DRREGISTER(huart);
                __HAL_UART_CLEAR_OREFLAG(huart);
                __HAL_UART_CLEAR_NEFLAG(huart);
                __HAL_UART_CLEAR_FEFLAG(huart);
                /* Disable the UART Error Interrupt: (Frame error, noise error, overrun error) */
                //__HAL_UART_DISABLE_IT(huart, UART_IT_ERR);
                setModeRXuart2();													// настройка послед порта 2 на прием
        }
}
void setModeRXuart2(void)
{
	HAL_HalfDuplex_EnableReceiver(&huart2); 							//  перевод устройства в режиме приёма
	HAL_UART_Receive_IT(&huart2, (uint8_t*)buf_cmd_mass, lenArr);
}
void sendDataFromPanel(uint8_t idPanel)
{
	HAL_HalfDuplex_EnableTransmitter(&huart2); 							// перевод устройство в режиме отправки
	Command_Massive[ID] = idPanel;
	uint8_t crc_l = 0;
	for(uint8_t i = 0; i<20-1; i++) crc_l ^= Command_Massive[i];		// подсчет CRC
	Command_Massive[CRCdata]	= crc_l^20+2;
	HAL_UART_Transmit_IT(&huart2, (uint8_t*)Command_Massive, lenArr);	// отпрпавляем данные в шину
}
/*+++++++++++++++++++++++++++++++++++++++++++++++++++++++++*/
void HAL_GPIO_EXTI_Callback(uint16_t GPIO_Pin)							// прерывание от кнопок
{
	if(TIM4->CR1 == 1) return;											// если таймер 4 запущен (1) то выходим из ф-ции
	//HAL_NVIC_DisableIRQ(EXTI15_10_IRQn); 								// отключаем прерывания на этом пине
    Pin_button = GPIO_Pin;												// запом. номер пина кнопки
    HAL_TIM_Base_Start_IT(&htim4); 										// запускаем таймер 4
}
void HAL_TIM_PeriodElapsedCallback(TIM_HandleTypeDef *htim)				// колбэк таймера 2, 4
{
	// 	 sprintf(StringCMD, "\nAutoRun: %d\r\n%c", AutoStart, '\0');
    //	HAL_UART_Transmit(&huart1, (uint8_t*)StringCMD, strlen(StringCMD), 30);
	 if(htim->Instance == TIM2)											// если прерывание от тамера 2
	  {
		 beep(0);
		 if (Flag_power_ON && !Flag_start_wash)
		 {
			 Led_array[led_power] ^= led_8; 						// мигаем индикатором
			 //running_lights();										// бегущие огни статуса индикаторов - шутиха
		}
		 if (Flag_power_ON && Flag_start_wash) Led_array[led_power] = led_8; 						// зажигаем индикатором
		 if (Flag_power_ON && Sec_delay_start_wash != 0) Led_array[3] ^= led_3;  // мигаем если таймер отсрочки включен
	}

     if(htim->Instance == TIM4 && HAL_GPIO_ReadPin(GPIOA, Pin_button) == 0) // если прерывание от тамера 4 и кнопка нажата
        {
        	static uint8_t count_press_bt;								// счетчик времени нажатия кнопки
        	count_press_bt++;											// инкримент его
        	if (count_press_bt > 30)									// если больше 30
            {
				switch (Pin_button)
				{
				case GPIO_PIN_4: //BT_3 Таймер отсрочки стирки
					if (Flag_power_ON || Flag_radio_ON)
														{
														 Led_array[3] = led_3;
														 Count_mode_delay_wash++;
														 if (Count_mode_delay_wash > 4) {
															 	 	 	 	 	 	 	 Count_mode_delay_wash = 0;
															 	 	 	 	 	 	 	 Led_array[3] = 0;
														 	 	 	 	 	 	 	 	 }
														 status_wash_led(0);
														 status_wash_led(Count_mode_delay_wash);
														 Sec_delay_start_wash = Time_Delay_Arr[Count_mode_delay_wash];
														} else {
															     Led_array[3] ^= Led_array[3];
																}
					count_press_bt = 0;
					break;

				case GPIO_PIN_5:  //BT_4  Супер стирка
					if (Flag_power_ON || Flag_radio_ON)Led_array[6] ^= led_6; else Led_array[6] ^= Led_array[6];
					count_press_bt = 0;
					break;

				case GPIO_PIN_8:  //BT_2 Быстрая Стирка
					if (Flag_power_ON || Flag_radio_ON)Led_array[5] ^= led_5; else Led_array[5] ^= Led_array[5];
					count_press_bt = 0;
					break;

				case GPIO_PIN_11: //BT_1 Дополнительное полоскание
					if (Flag_power_ON || Flag_radio_ON)Led_array[4] ^= led_4; else Led_array[4] ^= Led_array[4];
					count_press_bt = 0;
					break;

				case GPIO_PIN_15: // Button Start / Stop
					if (Flag_power_ON)
									{
									 Flag_start_wash ^= 1;
									}else{
										Led_array[led_power] ^= Led_array[led_power];  // led off
									}

					if (!Flag_power_ON) Flag_radio_ON ^= 1;								// radio ON/OFF
					count_press_bt = 0;
					break;

				case GPIO_PIN_12:                  // Button POWER
					if(!Flag_radio_ON)
					{
					 Led_array[led_power]  ^= led_8;
					 Flag_power_ON ^= count_press_bt;
					 //if (Flag_power_ON)Power_out_ON; else {Power_out_OFF;	led_off();}		// ВКЛ / Выкл питане мастера путем открытия закрытия транзистора
					}
					beep(70);
					count_press_bt = 0;
					break;

				default:
					count_press_bt = 0;
					break;
				}
				if (Flag_power_ON) beep(Btton_press);
            }
        	if (count_press_bt == 0) HAL_TIM_Base_Stop_IT(&htim4); 			// останавливаем таймер

        	//HAL_TIM_Base_Stop_IT(&htim4); 			// останавливаем таймер
             // __HAL_GPIO_EXTI_CLEAR_IT(Pin_button);   // очищаем бит EXTI_PR (бит прерывания)
            //  NVIC_ClearPendingIRQ(EXTI15_10_IRQn);   // очищаем бит NVIC_ICPRx (бит очереди)
            //  HAL_NVIC_EnableIRQ(EXTI15_10_IRQn);     // включаем внешнее прерывание
        }
}
/*+++++++++++++++++++++++++++++++++++++++++++++++++++++++++*/
uint8_t get_selector_position(uint8_t selector, uint16_t value)         // преобразов значен АЦП к номмеру программы стирки, темпер, скорости
{
 if (selector == selectorProg)
  {
   for (uint8_t i=0; i < totall_Prog; i++)
     if (value < selectorProg_values[i])
    	 	 	 	 	 	 	 	 	   return i+1;
  }

  for (uint8_t i=0; i < tempSpeedNum; i++)
  {
    if (value < selectorTempSpeed_values[0][i])
    										return selectorTempSpeed_values[selector][i];
   }

 return 0;
}
/*+++++++++++++++++++++++++++++++++++++++++++++++++++++++++*/
void start_wash(uint8_t prog_num, uint8_t spin_set, uint8_t temp_set) //
{
		Command_Massive[Start]   = 1;
		Command_Massive[ProgNum] = prog_num;//get_selector_position(selectorProg,  ADC[selectorProg]);
		Command_Massive[Spin] 	 = spin_set;//get_selector_position(selectorSpeed, ADC[selectorSpeed]);
		Command_Massive[Temp] 	 = temp_set;//get_selector_position(selectorTemp,  ADC[selectorTemp]);
		//Command_Massive[END]     = 0;
		Command_Massive[ID] 	 = ControlMasterlID;
		//Flag_start_wash			 = 1;
		Count_mode_delay_wash = 0;
		//led_off();

}
void stop_wash(uint8_t mode) // 1 run 0 stop
{
	    Command_Massive[Start]   = 0;
		Flag_start_wash			 = 0;
		Flag_wash 				 = 0;
		Count_mode_delay_wash	 = 0;
		if (Step_wash_session > 3) {
									Step_wash_session = 0; beep(Wash_end);}
		if (Step_wash_session != 0 && Step_wash_session < 4) Flag_start_wash	= 1;
}
/*+++++++++++++++++++++++++++++++++++++++++++++++++++++++++*/
void led_off(void)														// индикаторы  гасим
{
	for(uint8_t i = 0; i < 9; i++) Led_array[i] = 0;
}
/*+++++++++++++++++++++++++++++++++++++++++++++++++++++++++*/
void led_on(void)														// индикаторы  все зажигаем например для теста индикаторов
{
	for(uint8_t i = 0; i < 9; i++) Led_array[i] = Led_array_ON[i];

}
/*+++++++++++++++++++++++++++++++++++++++++++++++++++++++++*/
void beep(uint16_t hold)												// вывод звука на активный излучатель, просто поднимаем ногу на опред время
{
static uint32_t holdTime, lastTime;
	    if (hold > 0)
	        {
	    	  Beep_ON;
	          holdTime = hold;
	          lastTime = HAL_GetTick();
	          }

	    if ((lastTime + holdTime) < HAL_GetTick())
	        {
	          Beep_OFF;
	          }
}
/*+++++++++++++++++++++++++++++++++++++++++++++++++++++++++*/
void check_errors(uint8_t var)
{
	uint8_t Error = 0;
	if (Sec_count_sesion_connect > limit_Sec_ses_conn) Error = 1; 		//  нет связи с мастером
	if (Error) stop_wash(OFF);											//  если есть ошибки останавливаем стирку
	if (var < 200) return;						  						//  если меньше 200 значит нет ошибок у мастера

	for (uint8_t i=0; i < Tot_arr_err; i++)
	{
	 if(Error_Arr[i] == var - 199)	break;							// если код ошибки уже есть в массиве, то выходим
	 if(Error_Arr[i] == 0) {Error_Arr[i] = var - 199; break;}
	}

}
/*+++++++++++++++++++++++++++++++++++++++++++++++++++++++++*/
void status_wash_led(uint8_t status)									// зажигаем индикаторы статуса стирки. Всего 4 статуса у нас на панеле
{
	//Led_array[0] = Led_array[1] = Led_array[2] = Led_array[7] = 0;
	switch (status)
	{
	case 0:
		Led_array[0] = Led_array[1] = Led_array[2] = Led_array[7] = 0;
		break;
	case 1:
		Led_array[0] = led_7;
		break;
	case 2:
		Led_array[1] = led_2;
		break;
	case 3:
		Led_array[2] = led_1;
		break;
	case 4:
		Led_array[7] = led_0;
		break;

	}
}
/*+++++++++++++++++++++++++++++++++++++++++++++++++++++++++*/
void running_lights()
{
	static uint8_t p;
	p++;
	if (p > 40) {p=0; }

	switch (p)
	{
		case 10:
		Led_array[0] ^= led_0;
		break;
		case 20:
		Led_array[1] ^= led_1;
		break;
		case 30:
		Led_array[2] ^= led_2;
		break;
		case 40:
		Led_array[7] ^= led_7;
		break;
	}
}
/*+++++++++++++++++++++++++++++++++++++++++++++++++++++++++*/
void error_display()		//  процедура декодирования ошибки и вывод ее не панель в двоичном виде
{
	uint16_t i = 0;
	status_wash_led(0);		// тушим индикаторы
	while (i < 4)
	{
	 beep(Err_beep);		// зуммер для превлесения внимания
	 HAL_Delay(170);
	 i++;
	}
	i = 0;
	while (i < 500)
	{
	  running_lights();		// бегущие огни для превлесения внимания
	  HAL_Delay(5);
	  i++;
	}
	i = 0;
	status_wash_led(0);		// тушим индикаторы
	while (i < Tot_arr_err)
	{
		if (Error_Arr[i] !=0 )		// если ячейка имеет ошибку то индицируем
		{
			status_wash_led(0);
			HAL_Delay(1000);
			beep(Err_beep);
			if(Error_Arr[i]  & 1) status_wash_led(1);	// AND 0x00000001;
			if(Error_Arr[i]  & 2) status_wash_led(2);	// AND 0x00000010;
			if(Error_Arr[i]  & 4) status_wash_led(3);	// AND 0x00000100;
			if(Error_Arr[i]  & 8) status_wash_led(4);	// AND 0x00001000;
			HAL_Delay(1000*3);
		}
	 i++;
	}

}
/*+++++++++++++++++++++++++++++++++++++++++++++++++++++++++*/
/*+++++++++++++++++++++++++++++++++++++++++++++++++++++++++*/
/*+++++++++++++++++++++++++++++++++++++++++++++++++++++++++*/
/* USER CODE END 4 */

void Error_Handler(void)
{
}

/************************ (C) COPYRIGHT STMicroelectronics *****END OF FILE****/
